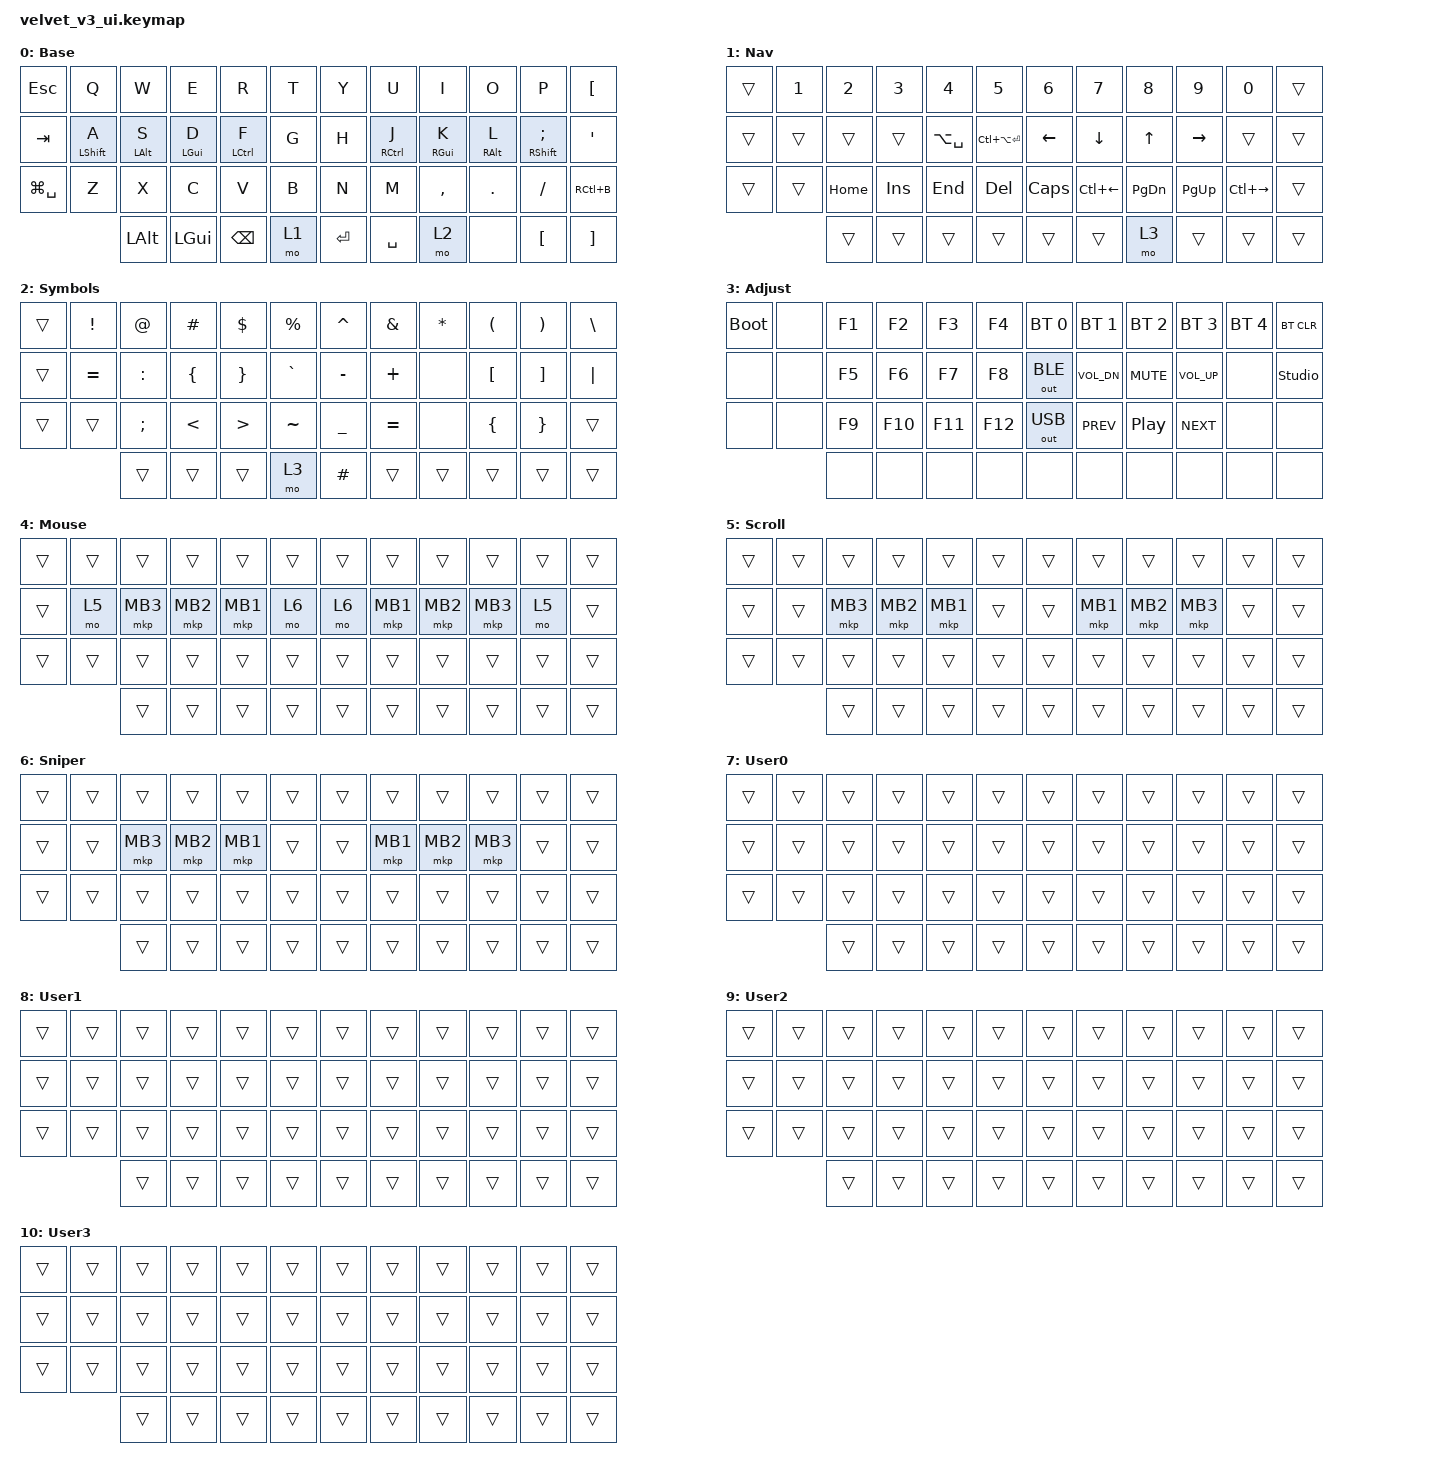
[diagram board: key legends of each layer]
#include "keys_ru.h"
#include <dt-bindings/zmk/input_transform.h>
#include <input/processors.dtsi>
#include <zephyr/dt-bindings/input/input-event-codes.h>
#include <behaviors.dtsi>
#include <dt-bindings/zmk/bt.h>
#include <dt-bindings/zmk/keys.h>
#include <dt-bindings/zmk/outputs.h>
#include <dt-bindings/zmk/pointing.h>

/ {
    behaviors {
        cap_sen: cap_sen {
            compatible = "zmk,behavior-hold-tap";
            label = "CAP_SEN";
            bindings = <&mo>, <&none>;

            #binding-cells = <2>;
            tapping-term-ms = <160>;
            hold-while-undecided;
        };

        mouse_layer: mouse_layer {
            compatible = "zmk,behavior-sticky-key";
            label = "MOUSE_LAYER";
            bindings = <&mo>;
            #binding-cells = <1>;
            release-after-ms = <250>;
        };

        zip_auto_mouse: zip_auto_mouse {
            compatible = "zmk,input-processor-temp-layer";
            #input-processor-cells = <2>;
            require-prior-idle-ms = <800>;
            excluded-positions = <>;
        };

        hrm: hrm {
            compatible = "zmk,behavior-hold-tap";
            label = "HRM";
            bindings = <&kp>, <&kp>;

            #binding-cells = <2>;
            tapping-term-ms = <200>;
            flavor = "balanced";
            quick-tap-ms = <200>;
            require-prior-idle-ms = <125>;
        };
    };

    combos {
        compatible = "zmk,combos";

        caps {
            bindings = <&caps_word>;
            key-positions = <16 19>;
            timeout-ms = <100>;
        };
    };

    keymap {
        compatible = "zmk,keymap";

        base {
            bindings = <
&kp ESC        &kp Q              &kp W            &kp E            &kp R                &kp T                        &kp Y  &kp U                 &kp I             &kp O             &kp P                  &kp LEFT_BRACKET
&kp TAB        &hrm LEFT_SHIFT A  &hrm LEFT_ALT S  &hrm LEFT_GUI D  &hrm LEFT_CONTROL F  &kp G                        &kp H  &hrm RIGHT_CONTROL J  &hrm RIGHT_GUI K  &hrm RIGHT_ALT L  &hrm RIGHT_SHIFT SEMI  &kp SINGLE_QUOTE
&kp LG(SPACE)  &kp Z              &kp X            &kp C            &kp V                &kp B                        &kp N  &kp M                 &kp COMMA         &kp DOT           &kp SLASH              &kp RC(B)
                                  &kp LALT         &kp LGUI         &kp BACKSPACE        &mo 1  &kp RET    &kp SPACE  &mo 2  &none                 &kp LBKT          &kp RBKT
            >;

            display-name = "Base";
        };

        nav {
            bindings = <
&trans  &kp N1  &kp N2    &kp N3   &kp N4         &kp N5                             &kp N6    &kp N7        &kp N8         &kp N9       &kp N0         &trans
&trans  &trans  &trans    &trans   &kp LA(SPACE)  &kp LC(LA(RET))                    &kp LEFT  &kp DOWN      &kp UP         &kp RIGHT    &trans         &trans
&trans  &trans  &kp HOME  &kp INS  &kp END        &kp DEL                            &kp CLCK  &kp LC(LEFT)  &kp PAGE_DOWN  &kp PAGE_UP  &kp LC(RIGHT)  &trans
                &trans    &trans   &trans         &trans           &trans    &trans  &mo 3     &trans        &trans         &trans
            >;

            display-name = "Nav";
        };

        sym {
            bindings = <
&trans  &kp EXCLAMATION  &kp AT_SIGN  &kp POUND       &kp DOLLAR        &kp PERCENT                      &kp CARET  &kp AMPERSAND  &kp ASTERISK  &kp LPAR        &kp RPAR         &kp BACKSLASH
&trans  &kp EQUAL        &kp COLON    &kp LEFT_BRACE  &kp RIGHT_BRACE   &kp GRAVE                        &kp MINUS  &kp PLUS       &none         &kp LBKT        &kp RBKT         &kp PIPE
&trans  &trans           &kp SEMI     &kp LESS_THAN   &kp GREATER_THAN  &kp TILDE                        &kp UNDER  &kp EQUAL      &none         &kp LEFT_BRACE  &kp RIGHT_BRACE  &trans
                         &trans       &trans          &trans            &mo 3        &kp HASH    &trans  &trans     &trans         &trans        &trans
            >;

            display-name = "Symbols";
        };

        adj {
            bindings = <
&bootloader  &none  &kp F1  &kp F2   &kp F3   &kp F4                   &bt BT_SEL 0  &bt BT_SEL 1  &bt BT_SEL 2      &bt BT_SEL 3  &bt BT_SEL 4  &bt BT_CLR
&none        &none  &kp F5  &kp F6   &kp F7   &kp F8                   &out OUT_BLE  &kp C_VOL_DN  &kp C_MUTE        &kp C_VOL_UP  &none         &studio_unlock
&none        &none  &kp F9  &kp F10  &kp F11  &kp F12                  &out OUT_USB  &kp C_PREV    &kp C_PLAY_PAUSE  &kp C_NEXT    &none         &none
                    &none   &none    &none    &none    &none    &none  &none         &none         &none             &none
            >;

            display-name = "Adjust";
        };

        mouse {
            bindings = <
&trans  &trans  &trans    &trans    &trans    &trans                    &trans  &trans    &trans    &trans    &trans  &trans
&trans  &mo 5   &mkp MB3  &mkp MB2  &mkp MB1  &mo 6                     &mo 6   &mkp MB1  &mkp MB2  &mkp MB3  &mo 5   &trans
&trans  &trans  &trans    &trans    &trans    &trans                    &trans  &trans    &trans    &trans    &trans  &trans
                &trans    &trans    &trans    &trans  &trans    &trans  &trans  &trans    &trans    &trans
            >;

            display-name = "Mouse";
        };

        scroll {
            bindings = <
&trans  &trans  &trans    &trans    &trans    &trans                    &trans  &trans    &trans    &trans    &trans  &trans
&trans  &trans  &mkp MB3  &mkp MB2  &mkp MB1  &trans                    &trans  &mkp MB1  &mkp MB2  &mkp MB3  &trans  &trans
&trans  &trans  &trans    &trans    &trans    &trans                    &trans  &trans    &trans    &trans    &trans  &trans
                &trans    &trans    &trans    &trans  &trans    &trans  &trans  &trans    &trans    &trans
            >;

            display-name = "Scroll";
        };

        sniper {
            bindings = <
&trans  &trans  &trans    &trans    &trans    &trans                    &trans  &trans    &trans    &trans    &trans  &trans
&trans  &trans  &mkp MB3  &mkp MB2  &mkp MB1  &trans                    &trans  &mkp MB1  &mkp MB2  &mkp MB3  &trans  &trans
&trans  &trans  &trans    &trans    &trans    &trans                    &trans  &trans    &trans    &trans    &trans  &trans
                &trans    &trans    &trans    &trans  &trans    &trans  &trans  &trans    &trans    &trans
            >;

            display-name = "Sniper";
        };

        User0 {
            bindings = <
&trans  &trans  &trans  &trans  &trans  &trans                    &trans  &trans  &trans  &trans  &trans  &trans
&trans  &trans  &trans  &trans  &trans  &trans                    &trans  &trans  &trans  &trans  &trans  &trans
&trans  &trans  &trans  &trans  &trans  &trans                    &trans  &trans  &trans  &trans  &trans  &trans
                &trans  &trans  &trans  &trans  &trans    &trans  &trans  &trans  &trans  &trans
            >;

            display-name = "User0";
        };

        User1 {
            bindings = <
&trans  &trans  &trans  &trans  &trans  &trans                    &trans  &trans  &trans  &trans  &trans  &trans
&trans  &trans  &trans  &trans  &trans  &trans                    &trans  &trans  &trans  &trans  &trans  &trans
&trans  &trans  &trans  &trans  &trans  &trans                    &trans  &trans  &trans  &trans  &trans  &trans
                &trans  &trans  &trans  &trans  &trans    &trans  &trans  &trans  &trans  &trans
            >;

            display-name = "User1";
        };

        User2 {
            bindings = <
&trans  &trans  &trans  &trans  &trans  &trans                    &trans  &trans  &trans  &trans  &trans  &trans
&trans  &trans  &trans  &trans  &trans  &trans                    &trans  &trans  &trans  &trans  &trans  &trans
&trans  &trans  &trans  &trans  &trans  &trans                    &trans  &trans  &trans  &trans  &trans  &trans
                &trans  &trans  &trans  &trans  &trans    &trans  &trans  &trans  &trans  &trans
            >;

            display-name = "User2";
        };

        User3 {
            bindings = <
&trans  &trans  &trans  &trans  &trans  &trans                    &trans  &trans  &trans  &trans  &trans  &trans
&trans  &trans  &trans  &trans  &trans  &trans                    &trans  &trans  &trans  &trans  &trans  &trans
&trans  &trans  &trans  &trans  &trans  &trans                    &trans  &trans  &trans  &trans  &trans  &trans
                &trans  &trans  &trans  &trans  &trans    &trans  &trans  &trans  &trans  &trans
            >;

            display-name = "User3";
        };
    };
};

&trackball { cpi = <1000>; };

&trackball_listener {
    input-processors = <&zip_auto_mouse 4 500>, <&zip_xy_scaler 9 20>;

    scroller {
        layers = <5>;
        input-processors =
            <&zip_xy_transform INPUT_TRANSFORM_Y_INVERT>,
            <&zip_xy_scaler 1 32>,
            <&zip_xy_to_scroll_mapper>;
    };

    sniper {
        layers = <6>;
        input-processors = <&zip_xy_scaler 1 4>;
    };
};
